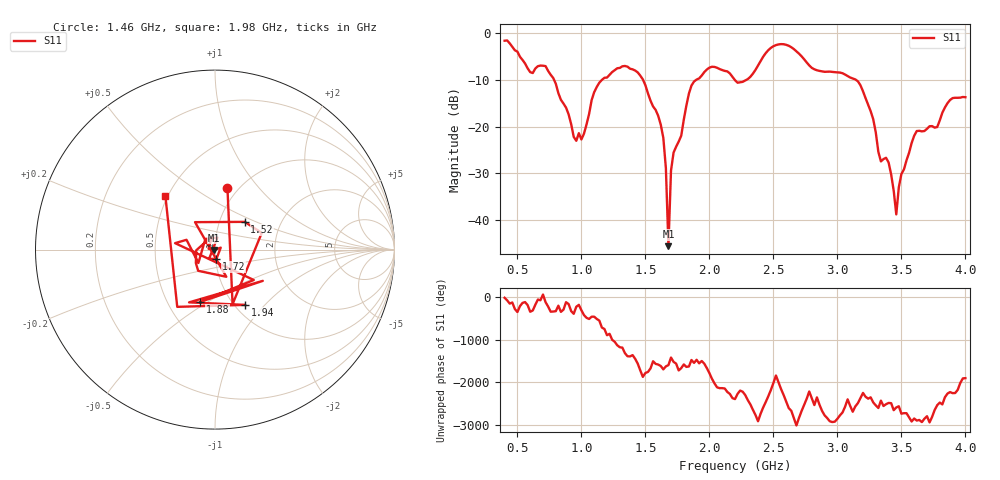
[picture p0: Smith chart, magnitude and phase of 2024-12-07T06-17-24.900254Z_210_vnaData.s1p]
!Created with skrf (http://scikit-rf.org).
# Hz S RI R 50.0
!freq ReS11 ImS11
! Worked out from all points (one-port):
!   181 points, 400 MHz to 4 GHz, reference 50 ohm
!   lowest |S11| = -45.6 dB at 1.68 GHz (marker M1), VSWR 1.01, Z = 49.5 - j0.196 ohm
!   |S11| at or under -10 dB: 786.2 MHz to 1.161 GHz (374.9 MHz wide, 38.5 % of centre); 1.481 GHz to 1.897 GHz (416 MHz wide, 24.6 % of centre); 3.144 GHz to end of sweep (the widest 3 of 4)
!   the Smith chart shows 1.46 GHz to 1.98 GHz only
!   S11 on the Smith chart (normalised r, x): 1.46 GHz: 0.89, +0.70; 1.52 GHz: 1.32, +0.43; 1.72 GHz: 1.01, -0.11; 1.88 GHz: 0.72, -0.46; 1.94 GHz: 1.12, -0.78; 1.98 GHz: 0.49, +0.35
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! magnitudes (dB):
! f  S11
! 400 MHz  -1.6
! 600 MHz  -8.4
! 720 MHz  -7.1
! 860 MHz  -15.1
! 1 GHz  -22.8
! 1.12 GHz  -11.5
! 1.3 GHz  -7.5
! 1.46 GHz  -9.1
! 1.52 GHz  -12.9
! 1.64 GHz  -22.4
! 1.66 GHz  -28.9
! 1.68 GHz  -45.6
! 1.7 GHz  -29.4
! 1.72 GHz  -25.6
! 1.76 GHz  -23.2
! 1.88 GHz  -10.4
! 1.94 GHz  -9.1
! 1.98 GHz  -7.8
! 2.2 GHz  -10.1
! 2.66 GHz  -3.4
! 3.1 GHz  -9.5
! 3.26 GHz  -16.7
! 3.34 GHz  -27.4
! 3.4 GHz  -27.7
! 3.46 GHz  -38.8
! 3.5 GHz  -30.1
! 3.56 GHz  -25.6
! 4 GHz  -13.7
